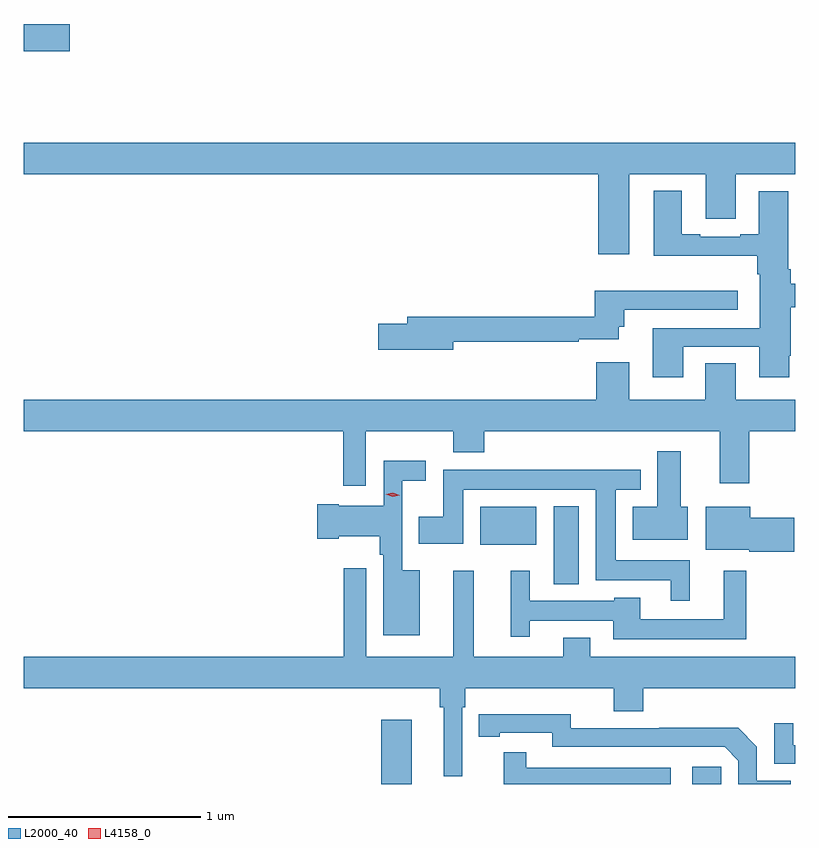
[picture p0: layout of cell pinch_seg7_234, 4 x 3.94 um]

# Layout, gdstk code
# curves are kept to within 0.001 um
import gdstk
lib = gdstk.Library(unit=1e-6, precision=1e-09)
def R(c, l, rs):  # rectangles x0, y0, x1, y1
    for r in rs: c.add(gdstk.rectangle(r[:2], r[2:], *l))
def P(c, l, *ps):  # polygons
    for p in ps: c.add(gdstk.Polygon(p, *l))
L2000_40 = (2000, 40)
L4158_0 = (4158, 0)

pinch_seg7_234 = lib.new_cell('pinch_seg7_234')
R(pinch_seg7_234, L2000_40, [(857.546,1057.397,857.704,1057.729), (859.158,1057.397,859.308,1057.486), (858.44,1058.432,858.571,1058.836), (858.059,1058.636,858.349,1058.833), (855.693,1061.194,855.931,1061.336)])
P(pinch_seg7_234, L2000_40, [(858.832,1060.556),(859.229,1060.556),(859.229,1060.326),(859.384,1060.326),(859.384,1060.556),(859.693,1060.556),(859.693,1060.72),(855.693,1060.72),(855.693,1060.556),(858.671,1060.556),(858.671,1060.143),(858.832,1060.143)],
  [(859.111,1059.663),(859.505,1059.663),(859.505,1059.504),(859.66,1059.504),(859.66,1059.616),(859.668,1059.616),(859.668,1059.868),(859.693,1059.868),(859.693,1059.989),(859.67,1059.989),(859.67,1060.066),(859.657,1060.066),(859.657,1060.468),(859.502,1060.468),(859.502,1060.246),(859.406,1060.246),(859.406,1060.233),(859.201,1060.233),(859.201,1060.246),(859.105,1060.246),(859.105,1060.471),(858.959,1060.471),(858.959,1060.136),(859.496,1060.136),(859.496,1060.04),(859.508,1060.04),(859.508,1059.759),(858.953,1059.759),(858.953,1059.504),(859.111,1059.504)],
  [(857.92,1059.69),(858.569,1059.69),(858.569,1059.702),(858.778,1059.702),(858.778,1059.768),(858.805,1059.768),(858.805,1059.855),(859.393,1059.855),(859.393,1059.953),(858.653,1059.953),(858.653,1059.818),(857.681,1059.818),(857.681,1059.782),(857.532,1059.782),(857.532,1059.647),(857.92,1059.647)],
  [(857.466,1059.224),(857.92,1059.224),(857.92,1059.116),(858.08,1059.116),(858.08,1059.224),(859.301,1059.224),(859.301,1058.955),(859.454,1058.955),(859.454,1059.224),(859.693,1059.224),(859.693,1059.388),(859.384,1059.388),(859.384,1059.578),(859.226,1059.578),(859.226,1059.388),(858.832,1059.388),(858.832,1059.583),(858.662,1059.583),(858.662,1059.388),(855.693,1059.388),(855.693,1059.224),(857.35,1059.224),(857.35,1058.943),(857.466,1058.943)],
  [(859.135,1058.833),(859.099,1058.833),(859.099,1059.121),(858.977,1059.121),(858.977,1058.833),(858.851,1058.833),(858.851,1058.663),(859.135,1058.663)],
  [(857.746,1058.506),(857.655,1058.506),(857.655,1058.969),(857.776,1058.969),(857.776,1059.073),(857.559,1059.073),(857.559,1058.839),(857.326,1058.839),(857.326,1058.847),(857.214,1058.847),(857.214,1058.669),(857.326,1058.669),(857.326,1058.681),(857.539,1058.681),(857.539,1058.585),(857.558,1058.585),(857.558,1058.168),(857.746,1058.168)],
  [(859.145,1058.557),(858.763,1058.557),(858.763,1058.921),(858.892,1058.921),(858.892,1059.025),(857.867,1059.025),(857.867,1058.782),(857.74,1058.782),(857.74,1058.642),(857.971,1058.642),(857.971,1058.921),(858.659,1058.921),(858.659,1058.453),(859.046,1058.453),(859.046,1058.346),(859.145,1058.346)],
  [(859.687,1058.778),(859.459,1058.778),(859.459,1058.833),(859.229,1058.833),(859.229,1058.612),(859.455,1058.612),(859.455,1058.6),(859.687,1058.6)],
  [(859.439,1058.503),(859.322,1058.503),(859.322,1058.251),(858.889,1058.251),(858.889,1058.362),(858.753,1058.362),(858.753,1058.347),(858.315,1058.347),(858.315,1058.503),(858.218,1058.503),(858.218,1058.16),(858.316,1058.16),(858.316,1058.243),(858.749,1058.243),(858.749,1058.147),(859.439,1058.147)],
  [(858.631,1058.155),(858.491,1058.155),(858.491,1058.056),(858.025,1058.056),(858.025,1058.503),(857.921,1058.503),(857.921,1058.056),(857.469,1058.056),(857.469,1058.515),(857.353,1058.515),(857.353,1058.056),(855.693,1058.056),(855.693,1057.892),(857.851,1057.892),(857.851,1057.796),(857.87,1057.796),(857.87,1057.437),(857.967,1057.437),(857.967,1057.796),(857.981,1057.796),(857.981,1057.892),(858.752,1057.892),(858.752,1057.775),(858.905,1057.775),(858.905,1057.892),(859.693,1057.892),(859.693,1058.056),(858.631,1058.056)],
  [(859.668,1057.413),(859.494,1057.413),(859.494,1057.59),(859.396,1057.688),(858.988,1057.688),(858.988,1057.686),(858.528,1057.686),(858.528,1057.759),(858.052,1057.758),(858.052,1057.642),(858.16,1057.642),(858.16,1057.662),(858.432,1057.662),(858.432,1057.59),(859.326,1057.59),(859.398,1057.518),(859.398,1057.397),(859.668,1057.397)],
  [(859.693,1057.599),(859.681,1057.599),(859.681,1057.711),(859.584,1057.711),(859.584,1057.503),(859.693,1057.503)],
  [(859.048,1057.482),(858.299,1057.482),(858.299,1057.561),(858.182,1057.561),(858.182,1057.397),(859.048,1057.397)])
P(pinch_seg7_234, L4158_0, [(857.605,1058.887),(857.57,1058.9),(857.57,1058.9),(857.57,1058.9),(857.607,1058.907),(857.642,1058.893),(857.642,1058.893),(857.642,1058.893)])

lib.write_gds('pinch_seg7_234.gds')
